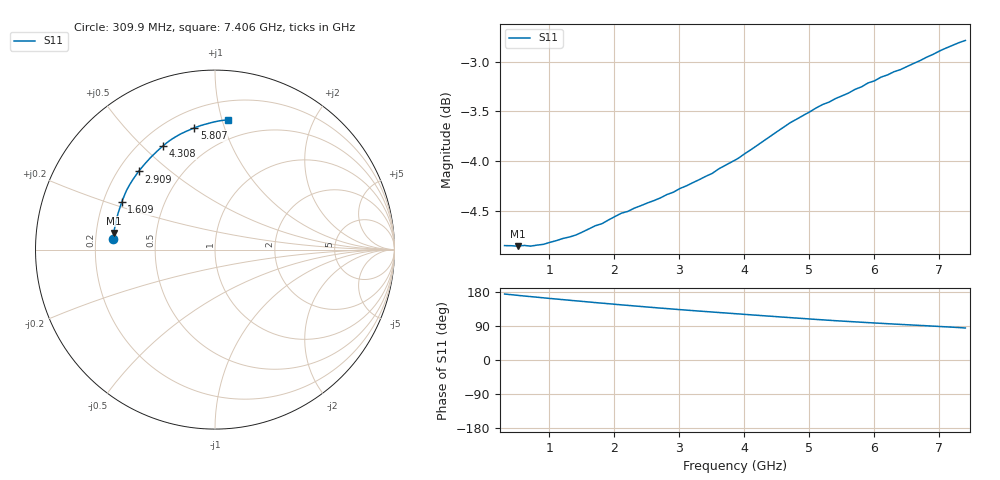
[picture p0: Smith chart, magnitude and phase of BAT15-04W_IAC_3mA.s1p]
! Infineon Technologies  Discrete & RF Semiconductors
! BAT15-04W-E6327
! IAC = 3 mA
! One-Port S-Parameters
# Hz  S  MA  R  50
!f  S11
!Hz  Mag  Ang
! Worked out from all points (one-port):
!   72 points, 309.9 MHz to 7.406 GHz, reference 50 ohm
!   lowest |S11| = -4.9 dB at 509.8 MHz (marker M1), VSWR 3.67, Z = 13.7 + j3.78 ohm
!   |S11| at or under -10 dB: nowhere
!   S11 on the Smith chart (normalised r, x): 309.9 MHz: 0.27, +0.05; 1.609 GHz: 0.28, +0.22; 2.909 GHz: 0.28, +0.39; 4.308 GHz: 0.29, +0.58; 5.807 GHz: 0.31, +0.80; 7.406 GHz: 0.34, +1.04
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3.0985e8  0.572 174.1
5.0975e8  0.5716 170.7
6.097e8  0.5721 168.9
1.0095e9  0.5742 162.4
1.2094e9  0.5767 159.2
1.6092e9  0.5832 153.0
1.90905e9  0.5892 148.6
2.10895e9  0.5939 145.5
2.50875e9  0.6009 139.8
2.90855e9  0.6085 134.3
3.0085e9  0.6111 132.9
3.4083e9  0.6198 127.9
3.6082e9  0.6252 125.3
3.90805e9  0.6329 121.6
4.30785e9  0.6461 116.7
4.50775e9  0.6528 114.3
4.8076e9  0.6622 110.6
5.2074e9  0.6736 105.9
5.4073e9  0.6783 103.7
5.6072e9  0.6826 101.6
5.70715e9  0.6855 100.7
5.8071e9  0.6875 99.6
6.10695e9  0.6953 96.7
6.6067e9  0.7064 92.2
6.8066e9  0.7115 90.4
7.10645e9  0.7191 87.5
7.30635e9  0.7236 85.6
7.4063e9  0.7255 84.5
